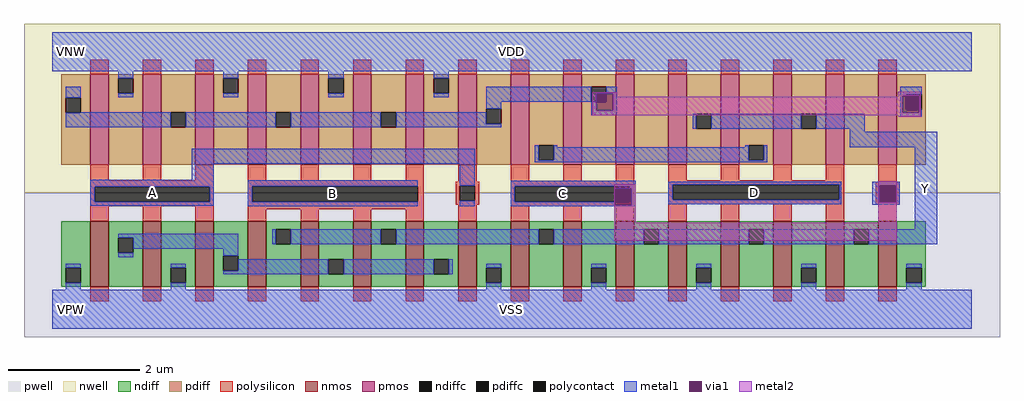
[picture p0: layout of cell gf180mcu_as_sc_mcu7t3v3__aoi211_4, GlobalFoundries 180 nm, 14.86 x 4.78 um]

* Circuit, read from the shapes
.subckt gf180mcu_as_sc_mcu7t3v3__aoi211_4 VDD VNW VPW VSS A B C D Y
XM1 n1 A VSS VPW nfet_03v3 w=1u l=0.28u m=4
XM2 Y B n1 VPW nfet_03v3 w=1u l=0.28u m=4
XM3 Y C VSS VPW nfet_03v3 w=1u l=0.28u m=4
XM4 VSS D Y VPW nfet_03v3 w=1u l=0.28u m=4
XM5 VDD A n2 VNW pfet_03v3 w=1.38u l=0.28u m=4
XM6 n2 B VDD VNW pfet_03v3 w=1.38u l=0.28u m=4
XM7 n3 C n2 VNW pfet_03v3 w=1.38u l=0.28u m=2
XM8 n4 C n2 VNW pfet_03v3 w=1.38u l=0.28u
XM9 Y D n4 VNW pfet_03v3 w=1.38u l=0.28u
XM10 n3 D Y VNW pfet_03v3 w=1.38u l=0.28u m=2
XM11 n5 D Y VNW pfet_03v3 w=1.38u l=0.28u
XM12 n2 C n5 VNW pfet_03v3 w=1.38u l=0.28u
.ends

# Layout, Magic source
magic
tech gf180mcuD
magscale 1 10
<< nwell >>
rect -86 354 2886 870
<< pwell >>
rect -86 -86 2886 354
<< nmos >>
rect 116 68 172 268
rect 276 68 332 268
rect 436 68 492 268
rect 596 68 652 268
rect 756 68 812 268
rect 916 68 972 268
rect 1076 68 1132 268
rect 1236 68 1292 268
rect 1396 68 1452 268
rect 1556 68 1612 268
rect 1716 68 1772 268
rect 1876 68 1932 268
rect 2036 68 2092 268
rect 2196 68 2252 268
rect 2356 68 2412 268
rect 2516 68 2572 268
<< pmos >>
rect 116 440 172 716
rect 276 440 332 716
rect 436 440 492 716
rect 596 440 652 716
rect 756 440 812 716
rect 916 440 972 716
rect 1076 440 1132 716
rect 1236 440 1292 716
rect 1396 440 1452 716
rect 1556 440 1612 716
rect 1716 440 1772 716
rect 1876 440 1932 716
rect 2036 440 2092 716
rect 2196 440 2252 716
rect 2356 440 2412 716
rect 2516 440 2572 716
<< ndiff >>
rect 28 127 116 268
rect 28 81 41 127
rect 87 81 116 127
rect 28 68 116 81
rect 172 218 276 268
rect 172 172 201 218
rect 247 172 276 218
rect 172 68 276 172
rect 332 127 436 268
rect 332 81 361 127
rect 407 81 436 127
rect 332 68 436 81
rect 492 163 596 268
rect 492 117 521 163
rect 567 117 596 163
rect 492 68 596 117
rect 652 244 756 268
rect 652 198 681 244
rect 727 198 756 244
rect 652 68 756 198
rect 812 152 916 268
rect 812 106 841 152
rect 887 106 916 152
rect 812 68 916 106
rect 972 244 1076 268
rect 972 198 1001 244
rect 1047 198 1076 244
rect 972 68 1076 198
rect 1132 152 1236 268
rect 1132 106 1161 152
rect 1207 106 1236 152
rect 1132 68 1236 106
rect 1292 127 1396 268
rect 1292 81 1321 127
rect 1367 81 1396 127
rect 1292 68 1396 81
rect 1452 244 1556 268
rect 1452 198 1481 244
rect 1527 198 1556 244
rect 1452 68 1556 198
rect 1612 127 1716 268
rect 1612 81 1641 127
rect 1687 81 1716 127
rect 1612 68 1716 81
rect 1772 244 1876 268
rect 1772 198 1801 244
rect 1847 198 1876 244
rect 1772 68 1876 198
rect 1932 127 2036 268
rect 1932 81 1961 127
rect 2007 81 2036 127
rect 1932 68 2036 81
rect 2092 244 2196 268
rect 2092 198 2121 244
rect 2167 198 2196 244
rect 2092 68 2196 198
rect 2252 127 2356 268
rect 2252 81 2281 127
rect 2327 81 2356 127
rect 2252 68 2356 81
rect 2412 244 2516 268
rect 2412 198 2441 244
rect 2487 198 2516 244
rect 2412 68 2516 198
rect 2572 127 2660 268
rect 2572 81 2601 127
rect 2647 81 2660 127
rect 2572 68 2660 81
<< pdiff >>
rect 28 644 116 716
rect 28 598 41 644
rect 87 598 116 644
rect 28 440 116 598
rect 172 703 276 716
rect 172 657 201 703
rect 247 657 276 703
rect 172 440 276 657
rect 332 600 436 716
rect 332 554 361 600
rect 407 554 436 600
rect 332 440 436 554
rect 492 703 596 716
rect 492 657 521 703
rect 567 657 596 703
rect 492 440 596 657
rect 652 600 756 716
rect 652 554 681 600
rect 727 554 756 600
rect 652 440 756 554
rect 812 703 916 716
rect 812 657 841 703
rect 887 657 916 703
rect 812 440 916 657
rect 972 600 1076 716
rect 972 554 1001 600
rect 1047 554 1076 600
rect 972 440 1076 554
rect 1132 703 1236 716
rect 1132 657 1161 703
rect 1207 657 1236 703
rect 1132 440 1236 657
rect 1292 611 1396 716
rect 1292 565 1321 611
rect 1367 565 1396 611
rect 1292 440 1396 565
rect 1452 499 1556 716
rect 1452 453 1481 499
rect 1527 453 1556 499
rect 1452 440 1556 453
rect 1612 678 1716 716
rect 1612 632 1641 678
rect 1687 632 1716 678
rect 1612 440 1716 632
rect 1772 440 1876 716
rect 1932 595 2036 716
rect 1932 549 1961 595
rect 2007 549 2036 595
rect 1932 440 2036 549
rect 2092 499 2196 716
rect 2092 453 2121 499
rect 2167 453 2196 499
rect 2092 440 2196 453
rect 2252 595 2356 716
rect 2252 549 2281 595
rect 2327 549 2356 595
rect 2252 440 2356 549
rect 2412 440 2516 716
rect 2572 654 2660 716
rect 2572 608 2601 654
rect 2647 608 2660 654
rect 2572 440 2660 608
<< ndiffc >>
rect 41 81 87 127
rect 201 172 247 218
rect 361 81 407 127
rect 521 117 567 163
rect 681 198 727 244
rect 841 106 887 152
rect 1001 198 1047 244
rect 1161 106 1207 152
rect 1321 81 1367 127
rect 1481 198 1527 244
rect 1641 81 1687 127
rect 1801 198 1847 244
rect 1961 81 2007 127
rect 2121 198 2167 244
rect 2281 81 2327 127
rect 2441 198 2487 244
rect 2601 81 2647 127
<< pdiffc >>
rect 41 598 87 644
rect 201 657 247 703
rect 361 554 407 600
rect 521 657 567 703
rect 681 554 727 600
rect 841 657 887 703
rect 1001 554 1047 600
rect 1161 657 1207 703
rect 1321 565 1367 611
rect 1481 453 1527 499
rect 1641 632 1687 678
rect 1961 549 2007 595
rect 2121 453 2167 499
rect 2281 549 2327 595
rect 2601 608 2647 654
<< polysilicon >>
rect 116 716 172 760
rect 276 716 332 760
rect 436 716 492 760
rect 596 716 652 760
rect 756 716 812 760
rect 916 716 972 760
rect 1076 716 1132 760
rect 1236 716 1292 760
rect 1396 716 1452 760
rect 1556 716 1612 760
rect 1716 716 1772 760
rect 1876 716 1932 760
rect 2036 716 2092 760
rect 2196 716 2252 760
rect 2356 716 2412 760
rect 2516 716 2572 760
rect 116 393 172 440
rect 276 393 332 440
rect 436 393 492 440
rect 116 373 492 393
rect 116 327 129 373
rect 479 327 492 373
rect 116 314 492 327
rect 116 268 172 314
rect 276 268 332 314
rect 436 268 492 314
rect 596 392 652 440
rect 756 392 812 440
rect 916 392 972 440
rect 1076 392 1132 440
rect 596 374 1132 392
rect 1236 388 1292 440
rect 1396 391 1452 440
rect 1556 391 1612 440
rect 1716 391 1772 440
rect 596 327 609 374
rect 1113 327 1132 374
rect 596 304 1132 327
rect 1228 376 1300 388
rect 1228 330 1241 376
rect 1287 330 1300 376
rect 1228 318 1300 330
rect 1396 374 1772 391
rect 1396 327 1409 374
rect 1759 327 1772 374
rect 596 268 652 304
rect 756 268 812 304
rect 916 268 972 304
rect 1076 268 1132 304
rect 1236 268 1292 318
rect 1396 313 1772 327
rect 1396 268 1452 313
rect 1556 268 1612 313
rect 1716 268 1772 313
rect 1876 392 1932 440
rect 2036 392 2092 440
rect 2196 392 2252 440
rect 2356 392 2412 440
rect 1876 379 2412 392
rect 2516 388 2572 440
rect 1876 333 1889 379
rect 2396 333 2412 379
rect 1876 320 2412 333
rect 1876 268 1932 320
rect 2036 268 2092 320
rect 2196 268 2252 320
rect 2356 268 2412 320
rect 2508 376 2580 388
rect 2508 330 2521 376
rect 2567 330 2580 376
rect 2508 318 2580 330
rect 2516 268 2572 318
rect 116 24 172 68
rect 276 24 332 68
rect 436 24 492 68
rect 596 24 652 68
rect 756 24 812 68
rect 916 24 972 68
rect 1076 24 1132 68
rect 1236 24 1292 68
rect 1396 24 1452 68
rect 1556 24 1612 68
rect 1716 24 1772 68
rect 1876 24 1932 68
rect 2036 24 2092 68
rect 2196 24 2252 68
rect 2356 24 2412 68
rect 2516 24 2572 68
<< polycontact >>
rect 129 327 479 373
rect 609 327 1113 374
rect 1241 330 1287 376
rect 1409 327 1759 374
rect 1889 333 2396 379
rect 2521 330 2567 376
<< metal1 >>
rect 0 724 2800 844
rect 201 703 247 724
rect 41 644 87 678
rect 201 646 247 657
rect 521 703 567 724
rect 521 646 567 657
rect 841 703 887 724
rect 841 646 887 657
rect 1161 703 1207 724
rect 1161 646 1207 657
rect 1321 632 1641 678
rect 1687 657 1719 678
rect 1321 611 1367 632
rect 87 598 361 600
rect 41 554 361 598
rect 407 554 681 600
rect 727 554 1001 600
rect 1047 565 1321 600
rect 1641 605 1656 632
rect 1708 605 1719 657
rect 1641 591 1719 605
rect 2583 654 2647 678
rect 2583 650 2601 654
rect 2583 598 2588 650
rect 2640 598 2647 608
rect 1047 554 1367 565
rect 1950 549 1961 595
rect 2007 549 2281 595
rect 2327 549 2474 595
rect 2583 586 2647 598
rect 2428 540 2474 549
rect 425 443 1287 489
rect 1470 453 1481 499
rect 1527 494 1538 499
rect 2110 494 2121 499
rect 1527 453 2121 494
rect 2167 453 2178 499
rect 2428 494 2695 540
rect 1470 448 2178 453
rect 425 395 492 443
rect 116 373 492 395
rect 116 327 129 373
rect 479 327 492 373
rect 116 315 492 327
rect 596 374 1113 392
rect 596 327 609 374
rect 596 313 1113 327
rect 1241 376 1287 443
rect 1241 314 1287 330
rect 1396 374 1777 391
rect 1396 327 1409 374
rect 1759 369 1777 374
rect 1396 317 1713 327
rect 1765 317 1777 369
rect 1876 379 2403 388
rect 1876 333 1889 379
rect 2396 333 2403 379
rect 1876 320 2403 333
rect 2497 378 2580 388
rect 2497 326 2518 378
rect 2570 326 2580 378
rect 2497 318 2580 326
rect 1396 313 1777 317
rect 2626 244 2695 494
rect 201 218 567 230
rect 247 184 567 218
rect 670 198 681 244
rect 727 198 1001 244
rect 1047 198 1481 244
rect 1527 198 1801 244
rect 1847 198 2121 244
rect 2167 198 2441 244
rect 2487 198 2695 244
rect 201 158 247 172
rect 521 163 567 184
rect 41 127 87 138
rect 41 60 87 81
rect 361 127 407 138
rect 567 117 841 152
rect 521 106 841 117
rect 887 106 1161 152
rect 1207 106 1219 152
rect 1321 127 1367 138
rect 361 60 407 81
rect 1321 60 1367 81
rect 1641 127 1687 138
rect 1641 60 1687 81
rect 1961 127 2007 138
rect 1961 60 2007 81
rect 2281 127 2327 138
rect 2281 60 2327 81
rect 2601 127 2647 138
rect 2601 60 2647 81
rect 0 -60 2800 60
<< via1 >>
rect 1656 632 1687 657
rect 1687 632 1708 657
rect 1656 605 1708 632
rect 2588 608 2601 650
rect 2601 608 2640 650
rect 2588 598 2640 608
rect 1713 327 1759 369
rect 1759 327 1765 369
rect 1713 317 1765 327
rect 2518 376 2570 378
rect 2518 330 2521 376
rect 2521 330 2567 376
rect 2567 330 2570 376
rect 2518 326 2570 330
<< metal2 >>
rect 1644 657 1720 661
rect 1644 605 1656 657
rect 1708 647 1720 657
rect 2576 650 2645 662
rect 2576 647 2588 650
rect 1708 605 2588 647
rect 1644 598 2588 605
rect 2640 598 2645 650
rect 1644 591 2645 598
rect 2576 586 2645 591
rect 1711 369 1777 381
rect 1711 317 1713 369
rect 1765 317 1777 369
rect 1711 264 1777 317
rect 2516 378 2572 390
rect 2516 326 2518 378
rect 2570 326 2572 378
rect 2516 264 2572 326
rect 1711 208 2572 264
<< labels >>
flabel metal1 s 0 724 2800 844 0 FreeSans 400 0 0 0 VDD
port 1 nsew power bidirectional abutment
flabel metal1 s 0 -60 2800 60 0 FreeSans 400 0 0 0 VSS
port 4 nsew ground bidirectional abutment
flabel nwell s 10 734 110 834 0 FreeSans 400 0 0 0 VNW
port 2 nsew power bidirectional
flabel pwell s 10 -50 110 50 0 FreeSans 400 0 0 0 VPW
port 3 nsew ground bidirectional
flabel metal1 116 315 492 395 0 FreeSans 200 0 0 0 A
port 5 nsew signal input
flabel metal1 596 313 1113 392 0 FreeSans 200 0 0 0 B
port 6 nsew signal input
flabel metal1 1396 313 1713 391 0 FreeSans 200 0 0 0 C
port 7 nsew signal input
flabel metal1 1876 320 2403 388 0 FreeSans 200 0 0 0 D
port 8 nsew signal input
flabel metal1 2626 198 2695 540 0 FreeSans 200 0 0 0 Y
port 9 new signal output
<< properties >>
string FIXED_BBOX 0 0 2800 784
string LEFclass CORE
string LEFsite unithd
string LEFsymmetry X Y
string MASKHINTS_NPLUS -16 -46 2816 354
string MASKHINTS_PPLUS -16 354 2816 830
<< end >>
